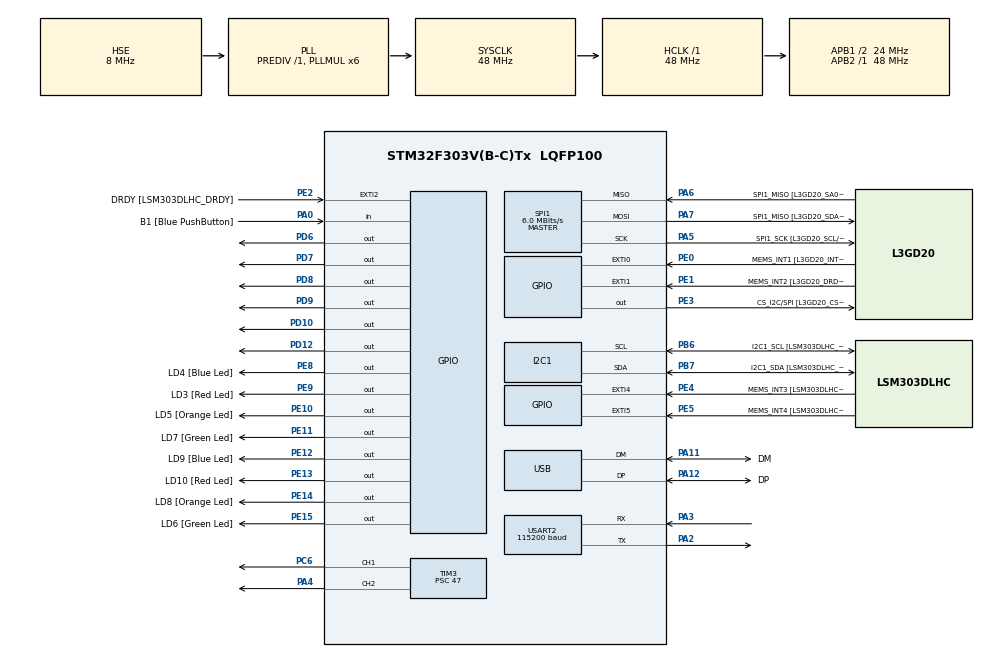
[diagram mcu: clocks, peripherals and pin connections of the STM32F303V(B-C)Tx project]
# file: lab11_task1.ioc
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I2C1.Timing=0x00201D2B
I2C1.Timing-I2C=0x2000090E
Mcu.Family=STM32F3
Mcu.Name=STM32F303V(B-C)Tx
Mcu.Package=LQFP100
NVIC.PriorityGroup=NVIC_PRIORITYGROUP_0
PA0.GPIO_Label=B1 [Blue PushButton]
PA0.Signal=GPIO_Input
PA11.GPIO_Label=DM
PA11.Mode=Device
PA11.Signal=USB_DM
PA12.GPIO_Label=DP
PA12.Mode=Device
PA12.Signal=USB_DP
PA13.GPIO_Label=SWDIO
PA13.Mode=Serial_Wire
PA13.Signal=SYS_JTMS-SWDIO
PA14.GPIO_Label=SWCLK
PA14.Mode=Serial_Wire
PA14.Signal=SYS_JTCK-SWCLK
PA2.Mode=Asynchronous
PA2.Signal=USART2_TX
PA3.Mode=Asynchronous
PA3.Signal=USART2_RX
PA4.Signal=S_TIM3_CH2
PA5.GPIO_Label=SPI1_SCK [L3GD20_SCL/SPC]
PA5.Mode=Full_Duplex_Master
PA5.Signal=SPI1_SCK
PA6.GPIO_Label=SPI1_MISO [L3GD20_SA0/SDO]
PA6.Mode=Full_Duplex_Master
PA6.Signal=SPI1_MISO
PA7.GPIO_Label=SPI1_MISO [L3GD20_SDA/SDI/SDO]
PA7.Mode=Full_Duplex_Master
PA7.Signal=SPI1_MOSI
PB3.GPIO_Label=SWO
PB3.Signal=SYS_JTDO-TRACESWO
PB6.GPIO_Label=I2C1_SCL [LSM303DLHC_SCL]
PB6.GPIO_Pu=GPIO_PULLUP
PB6.Mode=I2C
PB6.Signal=I2C1_SCL
PB7.GPIO_Label=I2C1_SDA [LSM303DLHC_SDA]
PB7.GPIO_Pu=GPIO_PULLUP
PB7.Mode=I2C
PB7.Signal=I2C1_SDA
PC14-OSC32_IN.GPIO_Label=OSC32_IN
PC14-OSC32_IN.Signal=RCC_OSC32_IN
PC15-OSC32_OUT.GPIO_Label=OSC32_OUT
PC15-OSC32_OUT.Signal=RCC_OSC32_OUT
PC6.Signal=S_TIM3_CH1
PD10.Signal=GPIO_Output
PD12.Signal=GPIO_Output
PD6.Signal=GPIO_Output
PD7.Signal=GPIO_Output
PD8.Signal=GPIO_Output
PD9.Signal=GPIO_Output
PE0.GPIO_Label=MEMS_INT1 [L3GD20_INT1]
PE0.GPIO_ModeDefaultEXTI=GPIO_MODE_EVT_RISING
PE0.Signal=GPXTI0
PE1.GPIO_Label=MEMS_INT2 [L3GD20_DRDY/INT2]
PE1.GPIO_ModeDefaultEXTI=GPIO_MODE_EVT_RISING
PE1.Signal=GPXTI1
PE10.GPIO_Label=LD5 [Orange Led]
PE10.Signal=GPIO_Output
PE11.GPIO_Label=LD7 [Green Led]
PE11.Signal=GPIO_Output
PE12.GPIO_Label=LD9 [Blue Led]
PE12.Signal=GPIO_Output
PE13.GPIO_Label=LD10 [Red Led]
PE13.Signal=GPIO_Output
PE14.GPIO_Label=LD8 [Orange Led]
PE14.Signal=GPIO_Output
PE15.GPIO_Label=LD6 [Green Led]
PE15.Signal=GPIO_Output
PE2.GPIO_Label=DRDY [LSM303DLHC_DRDY]
PE2.GPIO_ModeDefaultEXTI=GPIO_MODE_EVT_RISING
PE2.Signal=GPXTI2
PE3.GPIO_Label=CS_I2C/SPI [L3GD20_CS_I2C/SPI]
PE3.Signal=GPIO_Output
PE4.GPIO_Label=MEMS_INT3 [LSM303DLHC_INT1]
PE4.GPIO_ModeDefaultEXTI=GPIO_MODE_EVT_RISING
PE4.Signal=GPXTI4
PE5.GPIO_Label=MEMS_INT4 [LSM303DLHC_INT2]
PE5.GPIO_ModeDefaultEXTI=GPIO_MODE_EVT_RISING
PE5.Signal=GPXTI5
PE8.GPIO_Label=LD4 [Blue Led]
PE8.Signal=GPIO_Output
PE9.GPIO_Label=LD3 [Red Led]
PE9.Signal=GPIO_Output
PF0-OSC_IN.GPIO_Label=OSC_IN
PF0-OSC_IN.Mode=HSE-External-Clock-Source
PF0-OSC_IN.Signal=RCC_OSC_IN
PF1-OSC_OUT.GPIO_Label=OSC_OUT
PF1-OSC_OUT.Signal=RCC_OSC_OUT
ProjectManager.HeapSize=0x200
ProjectManager.StackSize=0x400
ProjectManager.TargetToolchain=CMake
RCC.AHBFreq_Value=48000000
RCC.APB1CLKDivider=RCC_HCLK_DIV2
RCC.APB1Freq_Value=24000000
RCC.APB1TimFreq_Value=48000000
RCC.APB2Freq_Value=48000000
RCC.APB2TimFreq_Value=48000000
RCC.CortexFreq_Value=48000000
RCC.HCLKFreq_Value=48000000
RCC.HSE_VALUE=8000000
RCC.HSI_VALUE=8000000
RCC.LSE_VALUE=32768
RCC.PLLMUL=RCC_PLL_MUL6
RCC.SYSCLKFreq_VALUE=48000000
RCC.SYSCLKSourceVirtual=RCC_SYSCLKSOURCE_PLLCLK
RCC.USBFreq_Value=48000000
SH.S_TIM3_CH1.0=TIM3_CH1,PWM Generation1 CH1
SH.S_TIM3_CH2.0=TIM3_CH2,PWM Generation2 CH2
SPI1.BaudRatePrescaler=SPI_BAUDRATEPRESCALER_8
SPI1.BaudRatePrescaler-Full_Duplex_Master=SPI_BAUDRATEPRESCALER_2
SPI1.CLKPhase=SPI_PHASE_2EDGE
SPI1.CLKPolarity=SPI_POLARITY_HIGH
SPI1.CalculateBaudRate=6.0 MBits/s
SPI1.CalculateBaudRate-Full_Duplex_Master=24.0 MBits/s
SPI1.DataSize=SPI_DATASIZE_8BIT
SPI1.Direction=SPI_DIRECTION_2LINES
SPI1.Mode=SPI_MODE_MASTER
SPI1.Mode-Full_Duplex_Master=SPI_MODE_MASTER
SPI1.VirtualType=VM_MASTER
TIM3.Channel-PWM\ Generation1\ CH1=TIM_CHANNEL_1
TIM3.Channel-PWM\ Generation2\ CH2=TIM_CHANNEL_2
TIM3.Prescaler=47
USART2.BaudRate=115200
USART2.VirtualMode-Asynchronous=VM_ASYNC
VP_TIM3_VS_ClockSourceINT.Mode=Internal
board=STM32F3DISCOVERY

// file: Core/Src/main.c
/* USER CODE BEGIN Header */
/**
  ******************************************************************************
  * @file           : main.c
  * @brief          : Main program body
  ******************************************************************************
  */
/* USER CODE END Header */

#include "main.h"

/* USER CODE BEGIN Includes */
#include <stdio.h>
#include <string.h>
#include <math.h>
/* USER CODE END Includes */

/* USER CODE BEGIN PD */
#define ACC_ADDR            (0x19 << 1)
#define ACC_CTRL_REG1_A     0x20
#define ACC_CTRL_REG4_A     0x23
#define ACC_OUT_X_L_A       0x28

#define GYRO_WHO_AM_I       0x0F
#define GYRO_CTRL_REG1      0x20
#define GYRO_CTRL_REG4      0x23
#define GYRO_OUT_X_L        0x28
/* USER CODE END PD */

/* USER CODE BEGIN PM */

/* Motor direction pins using your current setup on GPIOD */
#define MOTOR_A_FORWARD()   do { \
                              HAL_GPIO_WritePin(GPIOD, GPIO_PIN_8, GPIO_PIN_SET); \
                              HAL_GPIO_WritePin(GPIOD, GPIO_PIN_9, GPIO_PIN_RESET); \
                            } while(0)

#define MOTOR_A_REVERSE()   do { \
                              HAL_GPIO_WritePin(GPIOD, GPIO_PIN_8, GPIO_PIN_RESET); \
                              HAL_GPIO_WritePin(GPIOD, GPIO_PIN_9, GPIO_PIN_SET); \
                            } while(0)

#define MOTOR_A_STOP()      do { \
                              HAL_GPIO_WritePin(GPIOD, GPIO_PIN_8, GPIO_PIN_RESET); \
                              HAL_GPIO_WritePin(GPIOD, GPIO_PIN_9, GPIO_PIN_RESET); \
                            } while(0)

#define MOTOR_B_FORWARD()   do { \
                              HAL_GPIO_WritePin(GPIOD, GPIO_PIN_10, GPIO_PIN_SET); \
                              HAL_GPIO_WritePin(GPIOD, GPIO_PIN_12, GPIO_PIN_RESET); \
                            } while(0)

#define MOTOR_B_REVERSE()   do { \
                              HAL_GPIO_WritePin(GPIOD, GPIO_PIN_10, GPIO_PIN_RESET); \
                              HAL_GPIO_WritePin(GPIOD, GPIO_PIN_12, GPIO_PIN_SET); \
                            } while(0)

#define MOTOR_B_STOP()      do { \
                              HAL_GPIO_WritePin(GPIOD, GPIO_PIN_10, GPIO_PIN_RESET); \
                              HAL_GPIO_WritePin(GPIOD, GPIO_PIN_12, GPIO_PIN_RESET); \
                            } while(0)

#define BOTH_MOTORS_FORWARD()  do { MOTOR_A_FORWARD(); MOTOR_B_FORWARD(); } while(0)
#define BOTH_MOTORS_REVERSE()  do { MOTOR_A_REVERSE(); MOTOR_B_REVERSE(); } while(0)
#define BOTH_MOTORS_STOP()     do { MOTOR_A_STOP(); MOTOR_B_STOP(); } while(0)

/* USER CODE END PM */

I2C_HandleTypeDef hi2c1;

SPI_HandleTypeDef hspi1;

TIM_HandleTypeDef htim3;

UART_HandleTypeDef huart2;

PCD_HandleTypeDef hpcd_USB_FS;

/* USER CODE BEGIN PV */
char uartBuf[160];

float accAngle = 0.0f;
float gyroRate = 0.0f;
float angle = 0.0f;

const float dt = 0.01f;
const float alpha = 0.98f;

int16_t ax, ay, az;
int16_t gx, gy, gz;

/* PID variables */
float setPoint = 0.0f;
float error = 0.0f;
float prevError = 0.0f;
float integral = 0.0f;
float derivative = 0.0f;
float pidOutput = 0.0f;

/* PID gains - tune later */
float Kp = 15.0f;
float Ki = 0.8f;
float Kd = 1.5f;

/* safe max speed in percent */
uint8_t maxSpeedPercent = 60;
/* USER CODE END PV */

void SystemClock_Config(void);
static void MX_GPIO_Init(void);
static void MX_I2C1_Init(void);
static void MX_SPI1_Init(void);
static void MX_TIM3_Init(void);
static void MX_USART2_UART_Init(void);
static void MX_USB_PCD_Init(void);

/* USER CODE BEGIN PFP */
void myPrintf(const char *msg);

void ACC_Init(void);
void GYRO_Init(void);
void ACC_ReadRaw(int16_t *ax, int16_t *ay, int16_t *az);
void GYRO_ReadRaw(int16_t *gx, int16_t *gy, int16_t *gz);
void GYRO_WriteReg(uint8_t reg, uint8_t value);
uint8_t GYRO_ReadReg(uint8_t reg);

void Motor_A_SetSpeed(uint8_t speed_percent);
void Motor_B_SetSpeed(uint8_t speed_percent);
void Both_Motors_SetSpeed(uint8_t speed_percent);
void Motor_Stop_All(void);
uint8_t PID_To_Speed(float value);
/* USER CODE END PFP */

/* USER CODE BEGIN 0 */

void myPrintf(const char *msg)
{
  HAL_UART_Transmit(&huart2, (uint8_t *)msg, strlen(msg), HAL_MAX_DELAY);
}

void ACC_Init(void)
{
  uint8_t data;
  HAL_StatusTypeDef st;

  data = 0x57;   // 100 Hz, X Y Z enabled
  st = HAL_I2C_Mem_Write(&hi2c1, ACC_ADDR, ACC_CTRL_REG1_A, I2C_MEMADD_SIZE_8BIT, &data, 1, HAL_MAX_DELAY);
  if (st != HAL_OK)
  {
    myPrintf("ACC CTRL_REG1 write failed\r\n");
  }

  data = 0x00;   // +/-2g
  st = HAL_I2C_Mem_Write(&hi2c1, ACC_ADDR, ACC_CTRL_REG4_A, I2C_MEMADD_SIZE_8BIT, &data, 1, HAL_MAX_DELAY);
  if (st != HAL_OK)
  {
    myPrintf("ACC CTRL_REG4 write failed\r\n");
  }

  HAL_Delay(50);
}

void ACC_ReadRaw(int16_t *ax, int16_t *ay, int16_t *az)
{
  uint8_t rawData[6];
  HAL_StatusTypeDef st;

  st = HAL_I2C_Mem_Read(&hi2c1, ACC_ADDR, ACC_OUT_X_L_A | 0x80, I2C_MEMADD_SIZE_8BIT, rawData, 6, HAL_MAX_DELAY);
  if (st != HAL_OK)
  {
    *ax = 0;
    *ay = 0;
    *az = 0;
    myPrintf("ACC read failed\r\n");
    return;
  }

  *ax = (int16_t)((rawData[1] << 8) | rawData[0]);
  *ay = (int16_t)((rawData[3] << 8) | rawData[2]);
  *az = (int16_t)((rawData[5] << 8) | rawData[4]);

  *ax = *ax >> 4;
  *ay = *ay >> 4;
  *az = *az >> 4;
}

void GYRO_WriteReg(uint8_t reg, uint8_t value)
{
  uint8_t tx[2];
  tx[0] = reg & 0x7F;
  tx[1] = value;

  HAL_GPIO_WritePin(GPIOE, CS_I2C_SPI_Pin, GPIO_PIN_RESET);
  HAL_SPI_Transmit(&hspi1, tx, 2, HAL_MAX_DELAY);
  HAL_GPIO_WritePin(GPIOE, CS_I2C_SPI_Pin, GPIO_PIN_SET);
}

uint8_t GYRO_ReadReg(uint8_t reg)
{
  uint8_t tx[2], rx[2];
  tx[0] = reg | 0x80;
  tx[1] = 0x00;

  HAL_GPIO_WritePin(GPIOE, CS_I2C_SPI_Pin, GPIO_PIN_RESET);
  HAL_SPI_TransmitReceive(&hspi1, tx, rx, 2, HAL_MAX_DELAY);
  HAL_GPIO_WritePin(GPIOE, CS_I2C_SPI_Pin, GPIO_PIN_SET);

  return rx[1];
}

void GYRO_Init(void)
{
  GYRO_WriteReg(GYRO_CTRL_REG1, 0x0F);   // normal mode, X Y Z enable
  GYRO_WriteReg(GYRO_CTRL_REG4, 0x00);   // 250 dps full scale
  HAL_Delay(50);
}

void GYRO_ReadRaw(int16_t *gx, int16_t *gy, int16_t *gz)
{
  uint8_t tx[7];
  uint8_t rx[7];

  tx[0] = GYRO_OUT_X_L | 0x80 | 0x40;   // read + auto increment
  tx[1] = 0x00;
  tx[2] = 0x00;
  tx[3] = 0x00;
  tx[4] = 0x00;
  tx[5] = 0x00;
  tx[6] = 0x00;

  HAL_GPIO_WritePin(GPIOE, CS_I2C_SPI_Pin, GPIO_PIN_RESET);
  HAL_SPI_TransmitReceive(&hspi1, tx, rx, 7, HAL_MAX_DELAY);
  HAL_GPIO_WritePin(GPIOE, CS_I2C_SPI_Pin, GPIO_PIN_SET);

  *gx = (int16_t)((rx[2] << 8) | rx[1]);
  *gy = (int16_t)((rx[4] << 8) | rx[3]);
  *gz = (int16_t)((rx[6] << 8) | rx[5]);
}

void Motor_A_SetSpeed(uint8_t speed_percent)
{
  uint32_t ccr_value;

  if (speed_percent > 100)
  {
    speed_percent = 100;
  }

  ccr_value = (speed_percent * 65535UL) / 100UL;
  __HAL_TIM_SET_COMPARE(&htim3, TIM_CHANNEL_1, ccr_value);
}

void Motor_B_SetSpeed(uint8_t speed_percent)
{
  uint32_t ccr_value;

  if (speed_percent > 100)
  {
    speed_percent = 100;
  }

  ccr_value = (speed_percent * 65535UL) / 100UL;
  __HAL_TIM_SET_COMPARE(&htim3, TIM_CHANNEL_2, ccr_value);
}

void Both_Motors_SetSpeed(uint8_t speed_percent)
{
  Motor_A_SetSpeed(speed_percent);
  Motor_B_SetSpeed(speed_percent);
}

void Motor_Stop_All(void)
{
  BOTH_MOTORS_STOP();
  Motor_A_SetSpeed(0);
  Motor_B_SetSpeed(0);
}

uint8_t PID_To_Speed(float value)
{
  float absValue;

  if (value < 0.0f)
  {
    absValue = -value;
  }
  else
  {
    absValue = value;
  }

  /* simple scaling for beginner-style code */
  absValue = absValue * 1.5f;

  if (absValue > maxSpeedPercent)
  {
    absValue = maxSpeedPercent;
  }

  return (uint8_t)absValue;
}

/* USER CODE END 0 */

int main(void)
{
  HAL_Init();

  SystemClock_Config();

  MX_GPIO_Init();
  MX_I2C1_Init();
  MX_SPI1_Init();
  MX_TIM3_Init();
  MX_USART2_UART_Init();
  MX_USB_PCD_Init();

  /* USER CODE BEGIN 2 */
  ACC_Init();
  GYRO_Init();

  HAL_TIM_PWM_Start(&htim3, TIM_CHANNEL_1);
  HAL_TIM_PWM_Start(&htim3, TIM_CHANNEL_2);

  Motor_Stop_All();

  sprintf(uartBuf, "GYRO WHO_AM_I = 0x%02X\r\n", GYRO_ReadReg(GYRO_WHO_AM_I));
  myPrintf(uartBuf);

  myPrintf("accAngle,gyroRate,angle,error,pidOutput\r\n");
  /* USER CODE END 2 */

  while (1)
  {
    /* USER CODE BEGIN 3 */

    ACC_ReadRaw(&ax, &ay, &az);
    GYRO_ReadRaw(&gx, &gy, &gz);

    /* accelerometer angle */
    accAngle = atan2f((float)ax, (float)az) * 180.0f / 3.14159265f;

    /* gyro x-axis rate in deg/s */
    gyroRate = gx * 0.00875f;

    /* complementary filter */
    angle = alpha * (angle + gyroRate * dt) + (1.0f - alpha) * accAngle;

    /* PID controller */
    error = setPoint - angle;
    integral = integral + error * dt;
    derivative = (error - prevError) / dt;
    pidOutput = Kp * error + Ki * integral + Kd * derivative;
    prevError = error;

    /* safety */
    if (fabsf(angle) > 35.0f)
    {
      Motor_Stop_All();
    }
    else
    {
      uint8_t speedPercent = PID_To_Speed(pidOutput);

      if (pidOutput > 1.0f)
      {
        BOTH_MOTORS_FORWARD();
        Both_Motors_SetSpeed(speedPercent);
      }
      else if (pidOutput < -1.0f)
      {
        BOTH_MOTORS_REVERSE();
        Both_Motors_SetSpeed(speedPercent);
      }
      else
      {
        Motor_Stop_All();
      }
    }

    sprintf(uartBuf, "%.2f,%.2f,%.2f,%.2f,%.2f\r\n",
            accAngle, gyroRate, angle, error, pidOutput);
    myPrintf(uartBuf);

    HAL_Delay(10);

    /* USER CODE END 3 */
  }
}

void SystemClock_Config(void)
{
  RCC_OscInitTypeDef RCC_OscInitStruct = {0};
  RCC_ClkInitTypeDef RCC_ClkInitStruct = {0};
  RCC_PeriphCLKInitTypeDef PeriphClkInit = {0};

  RCC_OscInitStruct.OscillatorType = RCC_OSCILLATORTYPE_HSI|RCC_OSCILLATORTYPE_HSE;
  RCC_OscInitStruct.HSEState = RCC_HSE_BYPASS;
  RCC_OscInitStruct.HSEPredivValue = RCC_HSE_PREDIV_DIV1;
  RCC_OscInitStruct.HSIState = RCC_HSI_ON;
  RCC_OscInitStruct.HSICalibrationValue = RCC_HSICALIBRATION_DEFAULT;
  RCC_OscInitStruct.PLL.PLLState = RCC_PLL_ON;
  RCC_OscInitStruct.PLL.PLLSource = RCC_PLLSOURCE_HSE;
  RCC_OscInitStruct.PLL.PLLMUL = RCC_PLL_MUL6;
  if (HAL_RCC_OscConfig(&RCC_OscInitStruct) != HAL_OK)
  {
    Error_Handler();
  }

  RCC_ClkInitStruct.ClockType = RCC_CLOCKTYPE_HCLK|RCC_CLOCKTYPE_SYSCLK
                              |RCC_CLOCKTYPE_PCLK1|RCC_CLOCKTYPE_PCLK2;
  RCC_ClkInitStruct.SYSCLKSource = RCC_SYSCLKSOURCE_PLLCLK;
  RCC_ClkInitStruct.AHBCLKDivider = RCC_SYSCLK_DIV1;
  RCC_ClkInitStruct.APB1CLKDivider = RCC_HCLK_DIV2;
  RCC_ClkInitStruct.APB2CLKDivider = RCC_HCLK_DIV1;

  if (HAL_RCC_ClockConfig(&RCC_ClkInitStruct, FLASH_LATENCY_1) != HAL_OK)
  {
    Error_Handler();
  }

  PeriphClkInit.PeriphClockSelection = RCC_PERIPHCLK_USB|RCC_PERIPHCLK_USART2
                              |RCC_PERIPHCLK_I2C1;
  PeriphClkInit.Usart2ClockSelection = RCC_USART2CLKSOURCE_PCLK1;
  PeriphClkInit.I2c1ClockSelection = RCC_I2C1CLKSOURCE_HSI;
  PeriphClkInit.USBClockSelection = RCC_USBCLKSOURCE_PLL;
  if (HAL_RCCEx_PeriphCLKConfig(&PeriphClkInit) != HAL_OK)
  {
    Error_Handler();
  }
}

static void MX_I2C1_Init(void)
{
  hi2c1.Instance = I2C1;
  hi2c1.Init.Timing = 0x00201D2B;
  hi2c1.Init.OwnAddress1 = 0;
  hi2c1.Init.AddressingMode = I2C_ADDRESSINGMODE_7BIT;
  hi2c1.Init.DualAddressMode = I2C_DUALADDRESS_DISABLE;
  hi2c1.Init.OwnAddress2 = 0;
  hi2c1.Init.OwnAddress2Masks = I2C_OA2_NOMASK;
  hi2c1.Init.GeneralCallMode = I2C_GENERALCALL_DISABLE;
  hi2c1.Init.NoStretchMode = I2C_NOSTRETCH_DISABLE;
  if (HAL_I2C_Init(&hi2c1) != HAL_OK)
  {
    Error_Handler();
  }

  if (HAL_I2CEx_ConfigAnalogFilter(&hi2c1, I2C_ANALOGFILTER_ENABLE) != HAL_OK)
  {
    Error_Handler();
  }

  if (HAL_I2CEx_ConfigDigitalFilter(&hi2c1, 0) != HAL_OK)
  {
    Error_Handler();
  }
}

static void MX_SPI1_Init(void)
{
  hspi1.Instance = SPI1;
  hspi1.Init.Mode = SPI_MODE_MASTER;
  hspi1.Init.Direction = SPI_DIRECTION_2LINES;
  hspi1.Init.DataSize = SPI_DATASIZE_8BIT;
  hspi1.Init.CLKPolarity = SPI_POLARITY_HIGH;
  hspi1.Init.CLKPhase = SPI_PHASE_2EDGE;
  hspi1.Init.NSS = SPI_NSS_SOFT;
  hspi1.Init.BaudRatePrescaler = SPI_BAUDRATEPRESCALER_8;
  hspi1.Init.FirstBit = SPI_FIRSTBIT_MSB;
  hspi1.Init.TIMode = SPI_TIMODE_DISABLE;
  hspi1.Init.CRCCalculation = SPI_CRCCALCULATION_DISABLE;
  hspi1.Init.CRCPolynomial = 7;
  hspi1.Init.CRCLength = SPI_CRC_LENGTH_DATASIZE;
  hspi1.Init.NSSPMode = SPI_NSS_PULSE_DISABLE;
  if (HAL_SPI_Init(&hspi1) != HAL_OK)
  {
    Error_Handler();
  }
}

static void MX_TIM3_Init(void)
{
  TIM_ClockConfigTypeDef sClockSourceConfig = {0};
  TIM_MasterConfigTypeDef sMasterConfig = {0};
  TIM_OC_InitTypeDef sConfigOC = {0};

  htim3.Instance = TIM3;
  htim3.Init.Prescaler = 47;
  htim3.Init.CounterMode = TIM_COUNTERMODE_UP;
  htim3.Init.Period = 65535;
  htim3.Init.ClockDivision = TIM_CLOCKDIVISION_DIV1;
  htim3.Init.AutoReloadPreload = TIM_AUTORELOAD_PRELOAD_DISABLE;
  if (HAL_TIM_Base_Init(&htim3) != HAL_OK)
  {
    Error_Handler();
  }
  sClockSourceConfig.ClockSource = TIM_CLOCKSOURCE_INTERNAL;
  if (HAL_TIM_ConfigClockSource(&htim3, &sClockSourceConfig) != HAL_OK)
  {
    Error_Handler();
  }
  if (HAL_TIM_PWM_Init(&htim3) != HAL_OK)
  {
    Error_Handler();
  }
  sMasterConfig.MasterOutputTrigger = TIM_TRGO_RESET;
  sMasterConfig.MasterSlaveMode = TIM_MASTERSLAVEMODE_DISABLE;
  if (HAL_TIMEx_MasterConfigSynchronization(&htim3, &sMasterConfig) != HAL_OK)
  {
    Error_Handler();
  }
  sConfigOC.OCMode = TIM_OCMODE_PWM1;
  sConfigOC.Pulse = 0;
  sConfigOC.OCPolarity = TIM_OCPOLARITY_HIGH;
  sConfigOC.OCFastMode = TIM_OCFAST_DISABLE;
  if (HAL_TIM_PWM_ConfigChannel(&htim3, &sConfigOC, TIM_CHANNEL_1) != HAL_OK)
  {
    Error_Handler();
  }
  if (HAL_TIM_PWM_ConfigChannel(&htim3, &sConfigOC, TIM_CHANNEL_2) != HAL_OK)
  {
    Error_Handler();
  }

  HAL_TIM_MspPostInit(&htim3);
}

static void MX_USART2_UART_Init(void)
{
  huart2.Instance = USART2;
  huart2.Init.BaudRate = 115200;
  huart2.Init.WordLength = UART_WORDLENGTH_8B;
  huart2.Init.StopBits = UART_STOPBITS_1;
  huart2.Init.Parity = UART_PARITY_NONE;
  huart2.Init.Mode = UART_MODE_TX_RX;
  huart2.Init.HwFlowCtl = UART_HWCONTROL_NONE;
  huart2.Init.OverSampling = UART_OVERSAMPLING_16;
  huart2.Init.OneBitSampling = UART_ONE_BIT_SAMPLE_DISABLE;
  huart2.AdvancedInit.AdvFeatureInit = UART_ADVFEATURE_NO_INIT;
  if (HAL_UART_Init(&huart2) != HAL_OK)
  {
    Error_Handler();
  }
}

static void MX_USB_PCD_Init(void)
{
  hpcd_USB_FS.Instance = USB;
  hpcd_USB_FS.Init.dev_endpoints = 8;
  hpcd_USB_FS.Init.speed = PCD_SPEED_FULL;
  hpcd_USB_FS.Init.phy_itface = PCD_PHY_EMBEDDED;
  hpcd_USB_FS.Init.low_power_enable = DISABLE;
  hpcd_USB_FS.Init.battery_charging_enable = DISABLE;
  if (HAL_PCD_Init(&hpcd_USB_FS) != HAL_OK)
  {
    Error_Handler();
  }
}

static void MX_GPIO_Init(void)
{
  GPIO_InitTypeDef GPIO_InitStruct = {0};

  __HAL_RCC_GPIOE_CLK_ENABLE();
  __HAL_RCC_GPIOC_CLK_ENABLE();
  __HAL_RCC_GPIOF_CLK_ENABLE();
  __HAL_RCC_GPIOA_CLK_ENABLE();
  __HAL_RCC_GPIOD_CLK_ENABLE();
  __HAL_RCC_GPIOB_CLK_ENABLE();

  HAL_GPIO_WritePin(GPIOE, CS_I2C_SPI_Pin|LD4_Pin|LD3_Pin|LD5_Pin
                          |LD7_Pin|LD9_Pin|LD10_Pin|LD8_Pin
                          |LD6_Pin, GPIO_PIN_RESET);

  HAL_GPIO_WritePin(GPIOD, GPIO_PIN_8|GPIO_PIN_9|GPIO_PIN_10|GPIO_PIN_12
                          |GPIO_PIN_6|GPIO_PIN_7, GPIO_PIN_RESET);

  GPIO_InitStruct.Pin = DRDY_Pin|MEMS_INT3_Pin|MEMS_INT4_Pin|MEMS_INT1_Pin
                          |MEMS_INT2_Pin;
  GPIO_InitStruct.Mode = GPIO_MODE_EVT_RISING;
  GPIO_InitStruct.Pull = GPIO_NOPULL;
  HAL_GPIO_Init(GPIOE, &GPIO_InitStruct);

  GPIO_InitStruct.Pin = CS_I2C_SPI_Pin|LD4_Pin|LD3_Pin|LD5_Pin
                          |LD7_Pin|LD9_Pin|LD10_Pin|LD8_Pin
                          |LD6_Pin;
  GPIO_InitStruct.Mode = GPIO_MODE_OUTPUT_PP;
  GPIO_InitStruct.Pull = GPIO_NOPULL;
  GPIO_InitStruct.Speed = GPIO_SPEED_FREQ_LOW;
  HAL_GPIO_Init(GPIOE, &GPIO_InitStruct);

  GPIO_InitStruct.Pin = B1_Pin;
  GPIO_InitStruct.Mode = GPIO_MODE_INPUT;
  GPIO_InitStruct.Pull = GPIO_NOPULL;
  HAL_GPIO_Init(B1_GPIO_Port, &GPIO_InitStruct);

  GPIO_InitStruct.Pin = GPIO_PIN_8|GPIO_PIN_9|GPIO_PIN_10|GPIO_PIN_12
                          |GPIO_PIN_6|GPIO_PIN_7;
  GPIO_InitStruct.Mode = GPIO_MODE_OUTPUT_PP;
  GPIO_InitStruct.Pull = GPIO_NOPULL;
  GPIO_InitStruct.Speed = GPIO_SPEED_FREQ_LOW;
  HAL_GPIO_Init(GPIOD, &GPIO_InitStruct);
}

void Error_Handler(void)
{
  __disable_irq();
  while (1)
  {
  }
}
